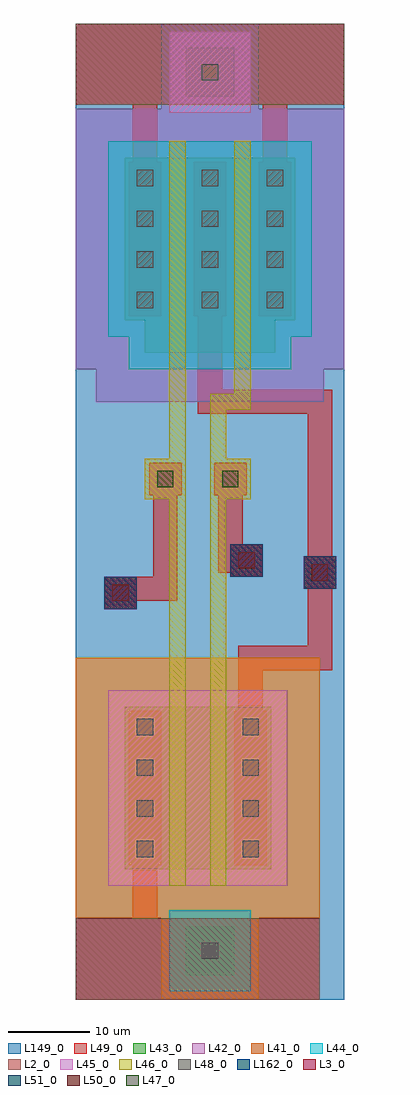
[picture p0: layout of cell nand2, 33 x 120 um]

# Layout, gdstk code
import gdstk
lib = gdstk.Library(unit=1e-6, precision=1e-09)
def R(c, l, rs):  # rectangles x0, y0, x1, y1
    for r in rs: c.add(gdstk.rectangle(r[:2], r[2:], *l))
def A(c, l, x, y, w, h, nx, ny, dx, dy):  # array of equal rectangles
    R(c, l, [(x+i*dx, y+j*dy, x+i*dx+w, y+j*dy+h) for i in range(nx) for j in range(ny)])
def P(c, l, *ps):  # polygons
    for p in ps: c.add(gdstk.Polygon(p, *l))
L2_0 = (2, 0)
L3_0 = (3, 0)
L41_0 = (41, 0)
L42_0 = (42, 0)
L43_0 = (43, 0)
L44_0 = (44, 0)
L45_0 = (45, 0)
L46_0 = (46, 0)
L47_0 = (47, 0)
L48_0 = (48, 0)
L49_0 = (49, 0)
L50_0 = (50, 0)
L51_0 = (51, 0)
L149_0 = (149, 0)
L162_0 = (162, 0)

via = lib.new_cell('via')
R(via, L49_0, [(-2,-2,2,2)])
R(via, L50_0, [(-1,-1,1,1)])
R(via, L51_0, [(-2,-2,2,2)])

nand2 = lib.new_cell('nand2')
R(nand2, L2_0, [(0,0,30,10), (0,110,33,120)])
R(nand2, L3_0, [(3.5,48,7.5,52), (28,50.5,32,54.5), (19,52,23,56)])
R(nand2, L41_0, [(10.5,0,22.5,12), (0,10,30,42)])
R(nand2, L42_0, [(10.5,108,22.5,120)])
P(nand2, L42_0, [(2.5,73.5),(2.5,77.5),(0,77.5),(0,109.5),(33,109.5),(33,77.5),(30.5,77.5),(30.5,73.5)])
R(nand2, L43_0, [(13.5,3,19.5,9), (6,16,24,36), (6,16,11.5,36), (18.5,16,24,36), (13.5,111,19.5,117)])
P(nand2, L43_0, [(8.5,79.5),(8.5,83.5),(6,83.5),(6,103.5),(27,103.5),(27,83.5),(24.5,83.5),(24.5,79.5)],
  [(8.5,79.5),(8.5,83.5),(6,83.5),(6,103.5),(11.5,103.5),(11.5,79.5)],
  [(21.5,79.5),(21.5,103.5),(27,103.5),(27,83.5),(24.5,83.5),(24.5,79.5)])
R(nand2, L44_0, [(11.5,1,21.5,11)])
P(nand2, L44_0, [(6.5,77.5),(6.5,81.5),(4,81.5),(4,105.5),(29,105.5),(29,81.5),(26.5,81.5),(26.5,77.5)])
R(nand2, L45_0, [(4,14,26,38), (11.5,109,21.5,119)])
R(nand2, L46_0, [(11.5,14,13.5,16), (16.5,14,18.5,16), (11.5,16,13.5,36), (16.5,16,18.5,36), (11.5,36,13.5,38), (16.5,36,18.5,38), (8.5,61.5,13.5,66.5), (16.5,61.5,21.5,66.5), (11.5,77.5,13.5,79.5), (19.5,77.5,21.5,79.5), (11.5,79.5,13.5,103.5), (19.5,79.5,21.5,103.5), (11.5,103.5,13.5,105.5), (19.5,103.5,21.5,105.5)])
R(nand2, L47_0, [(10,63,12,65), (18,63,20,65)])
A(nand2, L48_0, 7.5, 17.5, 2, 2, 1, 4, 0, 5)
A(nand2, L48_0, 20.5, 17.5, 2, 2, 1, 4, 0, 5)
A(nand2, L48_0, 7.5, 85, 2, 2, 3, 4, 8, 5)
R(nand2, L48_0, [(15.5,5,17.5,7), (15.5,113,17.5,115)])
A(nand2, L49_0, 6.5, 84, 4, 19, 3, 1, 8, 0)
R(nand2, L49_0, [(0,0,30,10), (14.5,4,18.5,8), (6.5,16.5,10.5,35.5), (19.5,16.5,23.5,35.5), (9,62,13,66), (17,62,21,66), (23,99,26,116.5), (7,100,10,116.5), (0,110,33,120), (14.5,112,18.5,116)])
R(nand2, L149_0, [(0,0,30,10), (0,0,33,120), (14.5,4,18.5,8), (9,62,13,66), (17,62,21,66), (23,99,26,116.5), (7,100,10,116.5), (0,110,33,120), (14.5,112,18.5,116)])
R(nand2, L162_0, [(3.5,48,7.5,52), (28,50.5,32,54.5), (19,52,23,56)])
nand2.add(gdstk.FlexPath([(8.5,18),(8.5,5)], 3, ends="extended", simple_path=True, layer=49, datatype=0))  # L49_0
nand2.add(gdstk.FlexPath([(21.5,39.5),(21.5,32.5)], 3, ends="extended", simple_path=True, layer=49, datatype=0))  # L49_0
nand2.add(gdstk.FlexPath([(11,64),(11,50.5),(5.5,50.5)], 3, ends="extended", simple_path=True, layer=49, datatype=0))  # L49_0
nand2.add(gdstk.FlexPath([(19,64),(19,54)], 3, ends="extended", simple_path=True, layer=49, datatype=0))  # L49_0
nand2.add(gdstk.FlexPath([(16.5,85.5),(16.5,73.5),(30,73.5),(30,42),(21.5,42),(21.5,37.5)], 3, ends="extended", simple_path=True, layer=49, datatype=0))  # L49_0
nand2.add(gdstk.FlexPath([(12.5,43),(12.5,79.5)], 2, ends="extended", simple_path=True, layer=46, datatype=0))  # L46_0
nand2.add(gdstk.FlexPath([(17.5,43),(17.5,73.5),(20.5,73.5),(20.5,79)], 2, ends="extended", simple_path=True, layer=46, datatype=0))  # L46_0
nand2.add(gdstk.FlexPath([(12.5,44),(12.5,37)], 2, ends="extended", simple_path=True, layer=46, datatype=0))  # L46_0
nand2.add(gdstk.FlexPath([(17.5,44),(17.5,37)], 2, ends="extended", simple_path=True, layer=46, datatype=0))  # L46_0
nand2.add(gdstk.FlexPath([(8.5,18),(8.5,5)], 3, ends="extended", simple_path=True, layer=149, datatype=0))  # L149_0
nand2.add(gdstk.FlexPath([(21.5,39.5),(21.5,32.5)], 3, ends="extended", simple_path=True, layer=149, datatype=0))  # L149_0
nand2.add(gdstk.FlexPath([(11,64),(11,50.5),(5.5,50.5)], 3, ends="extended", simple_path=True, layer=149, datatype=0))  # L149_0
nand2.add(gdstk.FlexPath([(19,64),(19,54)], 3, ends="extended", simple_path=True, layer=149, datatype=0))  # L149_0
nand2.add(gdstk.FlexPath([(16.5,85.5),(16.5,73.5),(30,73.5),(30,42),(21.5,42),(21.5,37.5)], 3, ends="extended", simple_path=True, layer=149, datatype=0))  # L149_0
nand2.add(gdstk.Reference(via, (5.5,50)))
nand2.add(gdstk.Reference(via, (30,52.5)))
nand2.add(gdstk.Reference(via, (21,54)))

lib.write_gds('nand2.gds')
